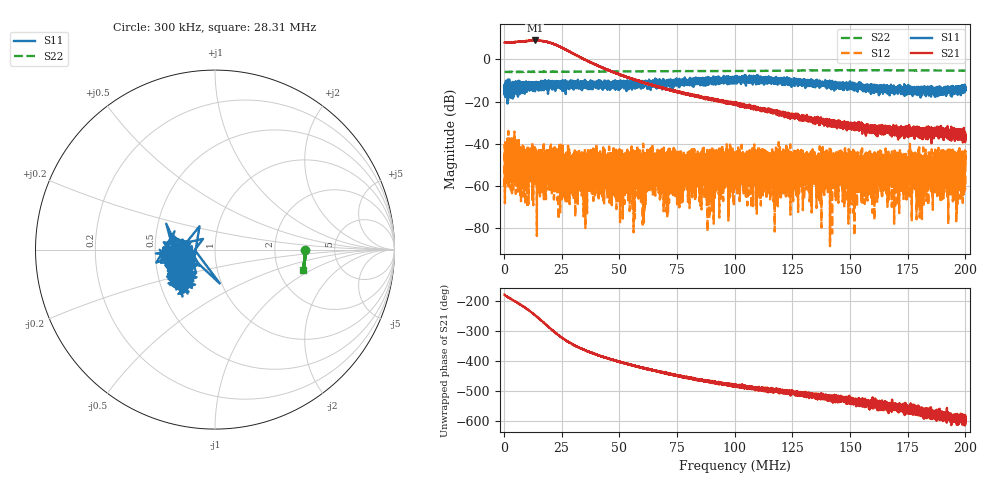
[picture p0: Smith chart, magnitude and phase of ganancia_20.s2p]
# Hz S DB R 50
! CMT, M5065, 19127446, 24.2.4/2
! Date: 11/8/2024 2:55:20 PM
! Data: Format (Calibration Info)
! Freq	S11:dB/Ang(F2)	S21:dB/Ang(F2)	S12:dB/Ang(F2)	S22:dB/Ang(F2)
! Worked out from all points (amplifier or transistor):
!   9000 points, 300 kHz to 200 MHz, reference 50 ohm
!   highest |S21| = 8.9 dB at 13.33 MHz (marker M1)
!   |S21| within 3 dB of that: start of sweep to 24.34 MHz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
!   unconditionally stable (mu >= 1): start of sweep to end of sweep
!   at 33.59 MHz: K = 57.84, MAG = 2.2 dB, |S12| = -45.1 dB
!   at 100.2 MHz: K = 700.84, MAG = -18.9 dB, |S12| = -46.0 dB
!   at 200 MHz: K = 23494.02, MAG = -33.5 dB, |S12| = -61.6 dB
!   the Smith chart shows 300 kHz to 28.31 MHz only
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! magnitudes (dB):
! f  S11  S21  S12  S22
! 300 kHz  -14.3  7.9  -60.5  -6.0
! 1.543 MHz  -13.6  7.9  -37.6  -6.0
! 7.379 MHz  -13.6  8.4  -49.9  -6.0
! 13.33 MHz  -11.2  8.9  -49.7  -6.0
! 15.28 MHz  -14.7  8.8  -53.1  -6.0
! 21.03 MHz  -11.5  7.5  -45.7  -5.9
! 33.59 MHz  -11.9  0.7  -45.1  -5.9
! 39.93 MHz  -11.4  -2.7  -46.5  -5.8
! 42.84 MHz  -11.9  -4.0  -54.3  -5.8
! 44.93 MHz  -13.4  -5.0  -49.1  -5.8
! 59.4 MHz  -13.4  -10.6  -45.6  -5.7
! 61.02 MHz  -12.1  -11.1  -50.2  -5.7
! 66.87 MHz  -12.2  -13.1  -50.9  -5.7
! 100.2 MHz  -9.3  -20.9  -46.0  -5.5
! 133.4 MHz  -11.3  -28.7  -48.1  -5.3
! 149.6 MHz  -12.2  -30.8  -58.7  -5.2
! 166.7 MHz  -13.7  -33.9  -61.4  -5.2
! 174.7 MHz  -16.5  -35.0  -51.8  -5.2
! 176.9 MHz  -13.8  -34.2  -47.0  -5.3
! 180.2 MHz  -14.5  -34.5  -49.1  -5.3
! 199 MHz  -14.0  -34.4  -47.5  -5.3
! 200 MHz  -13.6  -35.2  -61.6  -5.4
